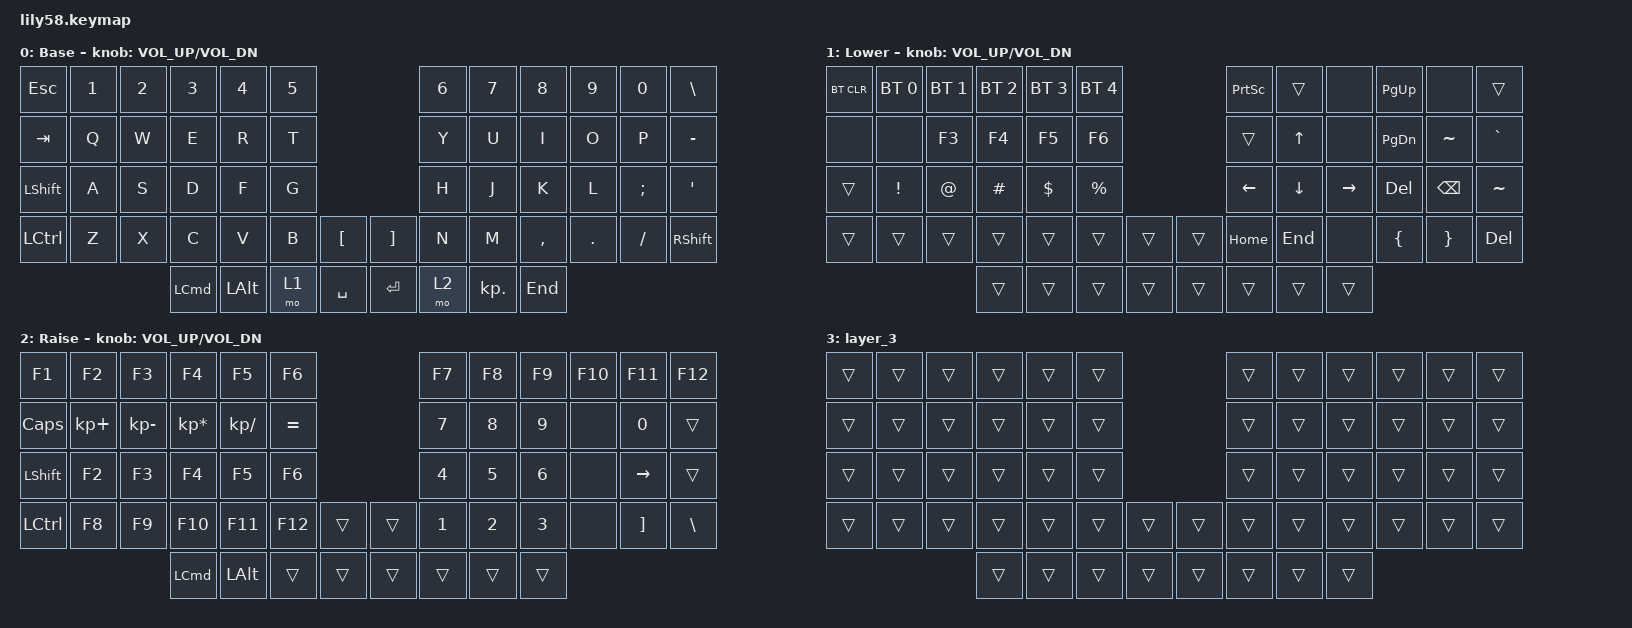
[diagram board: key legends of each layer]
/*
 * Copyright (c) 2020 The ZMK Contributors
 *
 * SPDX-License-Identifier: MIT
 */

#include <behaviors.dtsi>
#include <dt-bindings/zmk/bt.h>
#include <dt-bindings/zmk/keys.h>

/ {
    keymap {
        compatible = "zmk,keymap";

        default_layer {
            // ------------------------------------------------------------------------------------------------------------
            // |  ESC  |  1  |  2  |  3   |  4   |  5   |                   |  6   |  7    |  8    |  9   |   0   |   `   |
            // |  TAB  |  Q  |  W  |  E   |  R   |  T   |                   |  Y   |  U    |  I    |  O   |   P   |   -   |
            // |  CTRL |  A  |  S  |  D   |  F   |  G   |                   |  H   |  J    |  K    |  L   |   ;   |   '   |
            // | SHIFT |  Z  |  X  |  C   |  V   |  B   |   "["  |  |  "]"  |  N   |  M    |  ,    |  .   |   /   | SHIFT |
            //                     | ALT  | GUI  | LOWER|  SPACE |  | ENTER | RAISE| BSPC  | GUI   |

            display-name = "Base";
            bindings = <
&kp ESC         &kp N1  &kp N2  &kp N3            &kp N4        &kp N5                          &kp N6  &kp N7      &kp N8     &kp N9   &kp N0    &kp BACKSLASH
&kp TAB         &kp Q   &kp W   &kp E             &kp R         &kp T                           &kp Y   &kp U       &kp I      &kp O    &kp P     &kp MINUS
&kp LEFT_SHIFT  &kp A   &kp S   &kp D             &kp F         &kp G                           &kp H   &kp J       &kp K      &kp L    &kp SEMI  &kp SQT
&kp LCTRL       &kp Z   &kp X   &kp C             &kp V         &kp B   &kp LBKT     &kp RBKT   &kp N   &kp M       &kp COMMA  &kp DOT  &kp FSLH  &kp RIGHT_SHIFT
                                &kp LEFT_COMMAND  &kp LEFT_ALT  &mo 1   &kp SPACE    &kp ENTER  &mo 2   &kp KP_DOT  &kp END
            >;

            sensor-bindings = <&inc_dec_kp C_VOL_UP C_VOL_DN>;
        };

        lower_layer {
            // ------------------------------------------------------------------------------------------------------------
            // | BTCLR | BT1 | BT2 |  BT3 |  BT4 |  BT5 |                   |      |       |       |      |       |       |
            // |  F1   |  F2 |  F3 |  F4  |  F5  |  F6  |                   |  F7  |  F8   |  F9   |  F10 |  F11  |  F12  |
            // |   `   |  !  |  @  |  #   |  $   |  %   |                   |  ^   |  &    |  *    |  (   |   )   |   ~   |
            // |       |     |     |      |      |      |        |  |       |      |  _    |  +    |  {   |   }   |  "|"  |
            //                     |      |      |      |        |  |       |      |       |       |

            display-name = "Lower";
            bindings = <
&bt BT_CLR  &bt BT_SEL 0  &bt BT_SEL 1  &bt BT_SEL 2  &bt BT_SEL 3  &bt BT_SEL 4                    &kp PRINTSCREEN  &trans          &none            &kp PAGE_UP    &none          &trans
&none       &none         &kp F3        &kp F4        &kp F5        &kp F6                          &trans           &kp UP_ARROW    &none            &kp PAGE_DOWN  &kp TILDE      &kp GRAVE
&trans      &kp EXCL      &kp AT        &kp HASH      &kp DOLLAR    &kp PRCNT                       &kp LEFT_ARROW   &kp DOWN_ARROW  &kp RIGHT_ARROW  &kp DELETE     &kp BACKSPACE  &kp TILDE
&trans      &trans        &trans        &trans        &trans        &trans        &trans    &trans  &kp HOME         &kp END         &none            &kp LBRC       &kp RBRC       &kp DEL
                                        &trans        &trans        &trans        &trans    &trans  &trans           &trans          &trans
            >;

            sensor-bindings = <&inc_dec_kp C_VOL_UP C_VOL_DN>;
        };

        raise_layer {
            // ------------------------------------------------------------------------------------------------------------
            // |       |     |     |      |      |      |                   |      |       |       |      |       |       |
            // |   `   |  1  |  2  |  3   |  4   |  5   |                   |  6   |   7   |   8   |  9   |   0   |       |
            // |   F1  |  F2 |  F3 |  F4  |  F5  |  F6  |                   |      |   <-  |   v   |  ^   |  ->   |       |
            // |   F7  |  F8 |  F9 |  F10 |  F11 |  F12 |        |  |       |  +   |   -   |   =   |  [   |   ]   |   \   |
            //                     |      |      |      |        |  |       |      |       |       |

            display-name = "Raise";
            bindings = <
&kp F1          &kp F2       &kp F3           &kp F4            &kp F5         &kp F6                       &kp F7        &kp F8        &kp F9        &kp F10  &kp F11    &kp F12
&kp CAPSLOCK    &kp KP_PLUS  &kp KP_SUBTRACT  &kp KP_MULTIPLY   &kp KP_DIVIDE  &kp EQUAL                    &kp N7        &kp N8        &kp N9        &none    &kp N0     &trans
&kp LEFT_SHIFT  &kp F2       &kp F3           &kp F4            &kp F5         &kp F6                       &kp NUMBER_4  &kp N5        &kp NUMBER_6  &none    &kp RIGHT  &trans
&kp LCTRL       &kp F8       &kp F9           &kp F10           &kp F11        &kp F12    &trans    &trans  &kp NUMBER_1  &kp NUMBER_2  &kp NUMBER_3  &none    &kp RBKT   &kp BSLH
                                              &kp LEFT_COMMAND  &kp LEFT_ALT   &trans     &trans    &trans  &trans        &trans        &trans
            >;

            sensor-bindings = <&inc_dec_kp C_VOL_UP C_VOL_DN>;
        };

        layer_3 {
            bindings = <
&trans  &trans  &trans  &trans  &trans  &trans                    &trans  &trans  &trans  &trans  &trans  &trans
&trans  &trans  &trans  &trans  &trans  &trans                    &trans  &trans  &trans  &trans  &trans  &trans
&trans  &trans  &trans  &trans  &trans  &trans                    &trans  &trans  &trans  &trans  &trans  &trans
&trans  &trans  &trans  &trans  &trans  &trans  &trans    &trans  &trans  &trans  &trans  &trans  &trans  &trans
                        &trans  &trans  &trans  &trans    &trans  &trans  &trans  &trans
            >;
        };
    };
};
